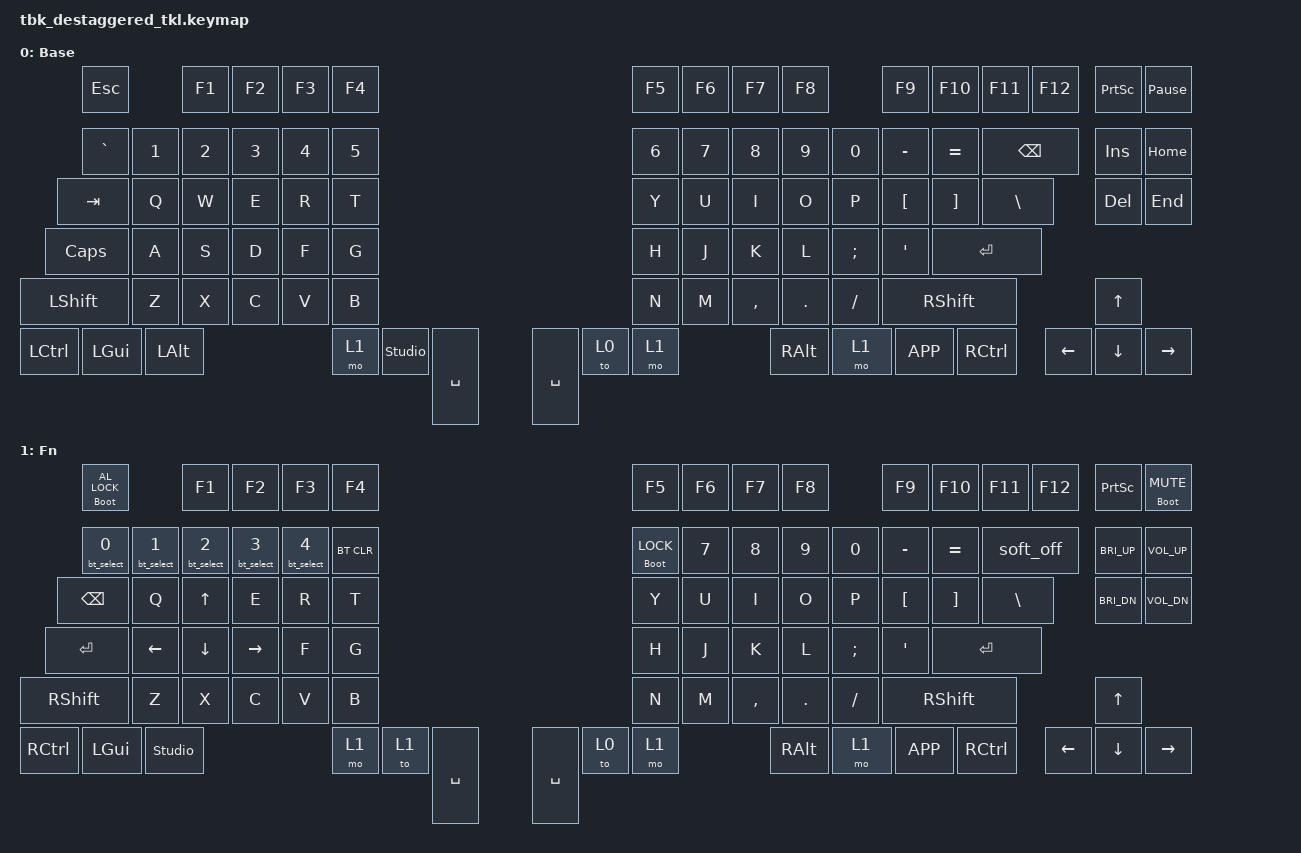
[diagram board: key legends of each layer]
/*
 * Copyright (c) 2021 The ZMK Contributors
 *
 * SPDX-License-Identifier: MIT
 */

#include <behaviors.dtsi>
#include <dt-bindings/zmk/backlight.h>
#include <dt-bindings/zmk/bt.h>
#include <dt-bindings/zmk/keys.h>
#include <dt-bindings/zmk/mouse.h>
#include <dt-bindings/zmk/outputs.h>

&soft_off { hold-time-ms = <1000>; };

&kscan0 {
    debounce-press-ms = <1>;
    debounce-release-ms = <10>;
};

/ {
    behaviors {
        sh2cl: sh2cl {
            compatible = "zmk,behavior-tap-dance";
            #binding-cells = <0>;
            tapping-term-ms = <220>;
            bindings = <&kp LEFT_SHIFT>, <&kp CAPS>;
        };

        hold2boot: hold2boot {
            compatible = "zmk,behavior-hold-tap";
            bindings = <&bootloader>, <&kp>;

            #binding-cells = <2>;
            flavor = "tap-preferred";
            tapping-term-ms = <1000>;
        };

        http: http {
            compatible = "zmk,behavior-hold-tap";
            bindings = <&kp>, <&kp>;

            #binding-cells = <2>;
            tapping-term-ms = <220>;
            flavor = "tap-preferred";
        };

        bt_td: bt_td {
            compatible = "zmk,behavior-tap-dance";
            #binding-cells = <0>;
            bindings =
                <&bt BT_SEL 0>,
                <&bt BT_SEL 1>,
                <&bt BT_SEL 2>,
                <&bt BT_SEL 3>,
                <&bt BT_SEL 4>;

            tapping-term-ms = <220>;
        };

        // bluetooth 1 param macro

        bt_select: bt_select {
            compatible = "zmk,behavior-macro-one-param";
            #binding-cells = <1>;
            bindings = <&out OUT_BLE &macro_param_1to2 &bt BT_SEL MACRO_PLACEHOLDER>;
        };
    };

    keymap {
        compatible = "zmk,keymap";

        //      -------------------------------------                            ---------------------------------------------------------------
        //      | ESC |     |  F1 |  F2 |  F3 |  F4 |                            |  F5 |  F6 |  F7 |  F8 |     |  F9 | F10 | F11 | F12 |  PS | BRK |
        //      |  `  |  1  |  2  |  3  |  4  |  5  |                            |  6  |  7  |  8  |  9  |  0  |  -  |  =  |  BSPC     | INS | HOME|
        //    | TAB   |  Q  |  W  |  E  |  R  |  T  |                            |  Y  |  U  |  I  |  O  |  P  |  [  |  ]  |   \     | | DEL | END |
        //   | CAPS   |  A  |  S  |  D  |  F  |  G  |                            |  H  |  J  |  K  |  L  |  ;  |  '  |    ENTER     |
        // | SHIFT    |  Z  |  X  |  C  |  V  |  B  |                            |  N  |  M  |  ,  |  .  |  /  |        RSHFT     |    | UP  |
        // |LCTRL| LGUI| LALT|                | 00  | Fn  | SPC |    |  +  |  .  | CTR |          | RALT |  Fn  | MENU | RCTRL | | LEFT| DN  |RIGHT|
        // ------------------------------------------     |     |    |     |     -----------------------------------------------

        default_layer {
            display-name = "Base";
            bindings = <
&kp ESC              &kp F1    &kp F2  &kp F3     &kp F4    &kp F5     &kp F6  &kp F7     &kp F8               &kp F9     &kp F10    &kp F11          &kp F12    &kp PSCRN  &kp PAUSE_BREAK
&kp GRAVE  &kp N1    &kp N2    &kp N3  &kp N4     &kp N5    &kp N6     &kp N7  &kp N8     &kp N9    &kp N0     &kp MINUS  &kp EQUAL  &kp BACKSPACE               &kp INS    &kp HOME
&kp TAB    &kp Q     &kp W     &kp E   &kp R      &kp T     &kp Y      &kp U   &kp I      &kp O     &kp P      &kp LBKT   &kp RBKT   &kp BACKSLASH               &kp DEL    &kp END 
&kp CAPS   &kp A     &kp S     &kp D   &kp F      &kp G     &kp H      &kp J   &kp K      &kp L     &kp SEMI   &kp APOS   &kp ENTER
&kp LSHFT  &kp Z     &kp X     &kp C   &kp V      &kp B     &kp N      &kp M   &kp COMMA  &kp DOT   &kp SLASH  &kp RSHIFT                                        &kp UP
&kp LCTRL  &kp LGUI  &kp LALT  &mo 1   &studio_unlock      &kp SPACE &kp SPACE  &to 0   &mo 1      &kp RALT  &mo 1      &kp K_APP   &kp RCTRL                  &kp LEFT   &kp DOWN   &kp RIGHT
            >;
        };

        fn_layer {
            display-name = "Fn";
            bindings = <
&hold2boot 0 C_AL_LOCK              &kp F1    &kp F2  &kp F3     &kp F4    &kp F5     &kp F6  &kp F7     &kp F8               &kp F9     &kp F10    &kp F11          &kp F12    &kp PSCRN  &hold2boot 0 C_MUTE
&bt_select 0            &bt_select 1  &bt_select 2  &bt_select 3  &bt_select 4 &bt BT_CLR    &hold2boot 0 K_LOCK     &kp N7  &kp N8     &kp N9    &kp N0     &kp MINUS  &kp EQUAL  &soft_off               &kp C_BRI_UP    &kp C_VOL_UP
&kp BSPC    &kp Q     &kp UP     &kp E   &kp R      &kp T     &kp Y      &kp U   &kp I      &kp O     &kp P      &kp LBKT   &kp RBKT   &kp BACKSLASH               &kp C_BRI_DN    &kp C_VOL_DN 
&kp ENTER   &kp LEFT      &kp DOWN      &kp RIGHT   &kp F      &kp G     &kp H      &kp J   &kp K      &kp L     &kp SEMI   &kp APOS   &kp ENTER
&kp RSHFT  &kp Z     &kp X     &kp C   &kp V      &kp B     &kp N      &kp M   &kp COMMA  &kp DOT   &kp SLASH  &kp RSHIFT                                        &kp UP
&kp RCTRL  &kp LGUI  &studio_unlock  &mo 1   &to 1      &kp SPACE &kp SPACE  &to 0   &mo 1      &kp RALT  &mo 1      &kp K_APP   &kp RCTRL                  &kp LEFT   &kp DOWN   &kp RIGHT
            >;
        };

        extra1 {
            status = "reserved";
        };

        extra2 {
            status = "reserved";
        };
        
        extra3 {
            status = "reserved";
        };

        extra4 {
            status = "reserved";
        };

        extra5 {
            status = "reserved";
        };

        extra6 {
            status = "reserved";
        };

        extra7 {
            status = "reserved";
        };

        extra8 {
            status = "reserved";
        };
    };
};
